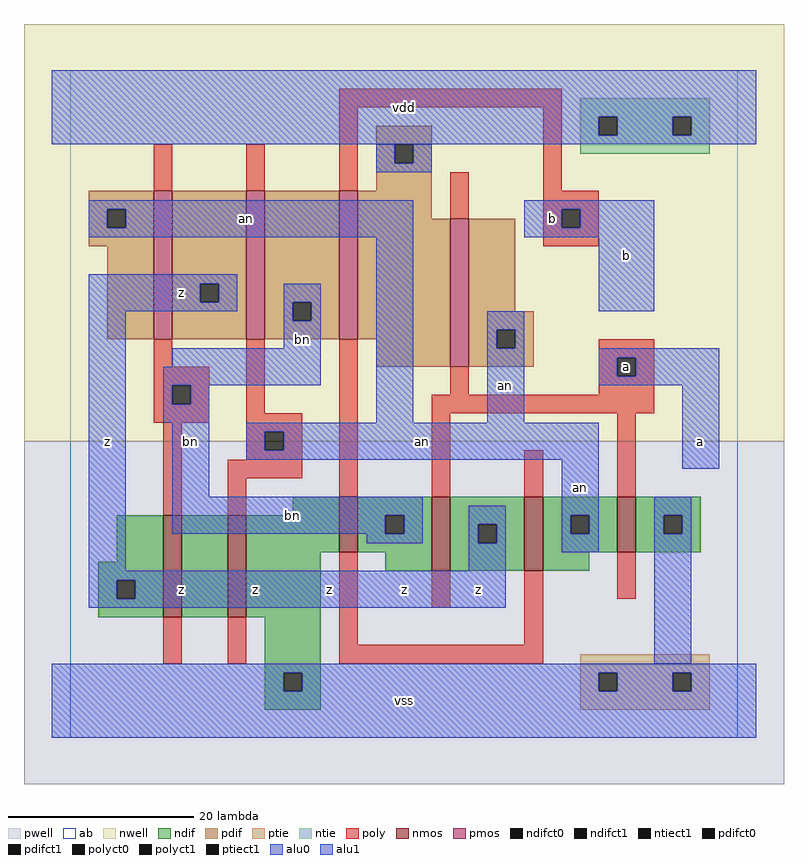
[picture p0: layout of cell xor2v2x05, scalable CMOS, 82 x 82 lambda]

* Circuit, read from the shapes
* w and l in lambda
.subckt xor2v2x05 a an b bn vdd vss z
M1 n1 bn z vss nfet w=11 l=2
M2 vss an n1 vss nfet w=11 l=2
M3 bn b vss vss nfet w=6 l=2
M4 z a bn vss nfet w=8 l=2
M5 an b z vss nfet w=8 l=2
M6 vss a an vss nfet w=6 l=2
M7 z bn an vdd pfet w=16 l=2
M8 bn an z vdd pfet w=16 l=2
M9 vdd b bn vdd pfet w=16 l=2
M10 an a vdd vdd pfet w=16 l=2
.ends

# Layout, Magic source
magic
tech scmos
<< ab >>
rect 0 0 72 72
<< nwell >>
rect -5 32 77 77
<< pwell >>
rect -5 -5 77 32
<< poly >>
rect 29 68 53 70
rect 9 59 11 64
rect 19 59 21 64
rect 29 59 31 68
rect 41 56 43 61
rect 51 59 53 68
rect 51 57 57 59
rect 9 40 11 43
rect 9 38 15 40
rect 9 36 11 38
rect 13 36 15 38
rect 9 34 15 36
rect 19 35 21 43
rect 10 24 12 34
rect 19 33 25 35
rect 19 31 21 33
rect 23 31 25 33
rect 19 30 25 31
rect 17 28 25 30
rect 17 24 19 28
rect 29 26 31 43
rect 51 55 53 57
rect 55 55 57 57
rect 51 53 57 55
rect 57 41 63 43
rect 41 37 43 40
rect 57 39 59 41
rect 61 39 63 41
rect 57 37 63 39
rect 39 35 63 37
rect 39 26 41 35
rect 49 26 51 31
rect 59 26 61 35
rect 10 8 12 13
rect 17 8 19 13
rect 29 10 31 20
rect 39 14 41 18
rect 49 10 51 18
rect 59 15 61 20
rect 29 8 51 10
<< ndif >>
rect 24 24 29 26
rect 5 19 10 24
rect 3 17 10 19
rect 3 15 5 17
rect 7 15 10 17
rect 3 13 10 15
rect 12 13 17 24
rect 19 20 29 24
rect 31 24 39 26
rect 31 22 34 24
rect 36 22 39 24
rect 31 20 39 22
rect 19 13 27 20
rect 21 7 27 13
rect 34 18 39 20
rect 41 23 49 26
rect 41 21 44 23
rect 46 21 49 23
rect 41 18 49 21
rect 51 24 59 26
rect 51 22 54 24
rect 56 22 59 24
rect 51 20 59 22
rect 61 24 68 26
rect 61 22 64 24
rect 66 22 68 24
rect 61 20 68 22
rect 51 18 56 20
rect 21 5 23 7
rect 25 5 27 7
rect 21 3 27 5
<< pdif >>
rect 33 64 39 66
rect 33 62 35 64
rect 37 62 39 64
rect 33 59 39 62
rect 2 57 9 59
rect 2 55 4 57
rect 6 55 9 57
rect 2 53 9 55
rect 4 43 9 53
rect 11 49 19 59
rect 11 47 14 49
rect 16 47 19 49
rect 11 43 19 47
rect 21 47 29 59
rect 21 45 24 47
rect 26 45 29 47
rect 21 43 29 45
rect 31 56 39 59
rect 31 43 41 56
rect 33 40 41 43
rect 43 46 48 56
rect 43 44 50 46
rect 43 42 46 44
rect 48 42 50 44
rect 43 40 50 42
<< alu1 >>
rect -2 67 74 72
rect -2 65 57 67
rect 59 65 65 67
rect 67 65 74 67
rect -2 64 74 65
rect 49 57 63 58
rect 49 55 53 57
rect 55 55 63 57
rect 49 54 63 55
rect 2 49 18 50
rect 2 47 14 49
rect 16 47 18 49
rect 2 46 18 47
rect 2 18 6 46
rect 57 46 63 54
rect 57 41 70 42
rect 57 39 59 41
rect 61 39 70 41
rect 57 38 70 39
rect 43 23 47 25
rect 43 21 44 23
rect 46 21 47 23
rect 43 18 47 21
rect 66 29 70 38
rect 2 17 47 18
rect 2 15 5 17
rect 7 15 47 17
rect 2 14 47 15
rect -2 7 74 8
rect -2 5 23 7
rect 25 5 57 7
rect 59 5 65 7
rect 67 5 74 7
rect -2 0 74 5
<< ptie >>
rect 55 7 69 9
rect 55 5 57 7
rect 59 5 65 7
rect 67 5 69 7
rect 55 3 69 5
<< ntie >>
rect 55 67 69 69
rect 55 65 57 67
rect 59 65 65 67
rect 67 65 69 67
rect 55 63 69 65
<< nmos >>
rect 10 13 12 24
rect 17 13 19 24
rect 29 20 31 26
rect 39 18 41 26
rect 49 18 51 26
rect 59 20 61 26
<< pmos >>
rect 9 43 11 59
rect 19 43 21 59
rect 29 43 31 59
rect 41 40 43 56
<< polyct0 >>
rect 11 36 13 38
rect 21 31 23 33
<< polyct1 >>
rect 53 55 55 57
rect 59 39 61 41
<< ndifct0 >>
rect 34 22 36 24
rect 54 22 56 24
rect 64 22 66 24
<< ndifct1 >>
rect 5 15 7 17
rect 44 21 46 23
rect 23 5 25 7
<< ntiect1 >>
rect 57 65 59 67
rect 65 65 67 67
<< ptiect1 >>
rect 57 5 59 7
rect 65 5 67 7
<< pdifct0 >>
rect 35 62 37 64
rect 4 55 6 57
rect 24 45 26 47
rect 46 42 48 44
<< pdifct1 >>
rect 14 47 16 49
<< alu0 >>
rect 33 62 35 64
rect 37 62 39 64
rect 33 61 39 62
rect 2 57 37 58
rect 2 55 4 57
rect 6 55 37 57
rect 2 54 37 55
rect 23 47 27 49
rect 23 45 24 47
rect 26 45 27 47
rect 23 42 27 45
rect 11 40 27 42
rect 10 38 27 40
rect 10 36 11 38
rect 13 36 15 38
rect 10 34 15 36
rect 33 34 37 54
rect 45 44 49 46
rect 45 42 46 44
rect 48 42 49 44
rect 45 34 49 42
rect 11 26 15 34
rect 19 33 57 34
rect 19 31 21 33
rect 23 31 57 33
rect 19 30 57 31
rect 11 24 38 26
rect 11 22 34 24
rect 36 22 38 24
rect 32 21 38 22
rect 53 24 57 30
rect 53 22 54 24
rect 56 22 57 24
rect 53 20 57 22
rect 63 24 67 26
rect 63 22 64 24
rect 66 22 67 24
rect 63 8 67 22
<< labels >>
rlabel alu0 13 32 13 32 6 bn
rlabel alu0 25 43 25 43 6 bn
rlabel alu0 24 24 24 24 6 bn
rlabel alu0 47 38 47 38 6 an
rlabel alu0 19 56 19 56 6 an
rlabel alu0 55 27 55 27 6 an
rlabel alu0 38 32 38 32 6 an
rlabel alu1 12 16 12 16 6 z
rlabel alu1 4 32 4 32 6 z
rlabel alu1 12 48 12 48 6 z
rlabel alu1 28 16 28 16 6 z
rlabel alu1 20 16 20 16 6 z
rlabel alu1 36 4 36 4 6 vss
rlabel alu1 44 16 44 16 6 z
rlabel alu1 36 16 36 16 6 z
rlabel alu1 52 56 52 56 6 b
rlabel alu1 36 68 36 68 6 vdd
rlabel alu1 68 32 68 32 6 a
rlabel polyct1 60 40 60 40 6 a
rlabel alu1 60 52 60 52 6 b
<< end >>
